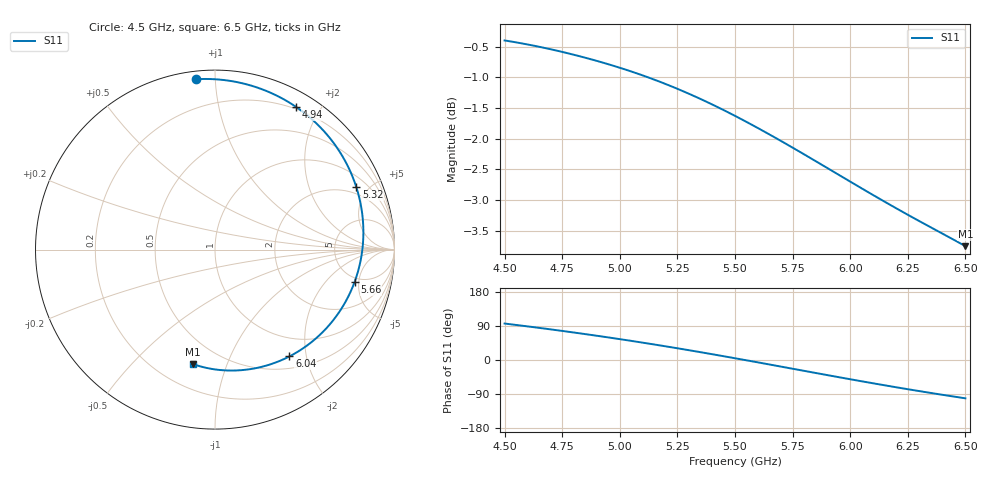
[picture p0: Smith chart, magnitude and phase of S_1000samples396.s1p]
! TOUCHSTONE file generated by CST MICROWAVE STUDIO
! Date and time: Fri Oct 28 00:45:36 2022
! Project name: L.cst
! Parameters = {Di=1.27; Epsilon_r=1.56; InnerDiameter=1.27; Length=2; Lf=10; Lg=60; OuterConductorThickness=0.2921; OuterDiameter=3.6; Wf=3; Wp=41.2; de=1.5; df=6.8; g=0.8; gx=4.4939; gy=4.37094; h=2.34; hf=1.524; px=13.2286; py=9.4735; w=9.7; wx=8.73472; wy=5.10255}
! Header version: 2018
! Port assignment regex: !\s*Touchstone port\s*([0-9]+)\s*=\s*(CST MWS port|CST DS port)\s*([0-9]+|Zmin|Zmax)\s*\(\"(.*)\"\)(\s*mode\s*([0-9]+))?.*
! Touchstone port assignment:
! Touchstone port 1 = CST MWS port 1 ("")
# GHz S DB R 50
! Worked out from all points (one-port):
!   101 points, 4.5 GHz to 6.5 GHz, reference 50 ohm
!   lowest |S11| = -3.8 dB at 6.5 GHz (marker M1), VSWR 4.70, Z = 17.3 - j38.1 ohm
!   |S11| at or under -10 dB: nowhere
!   S11 on the Smith chart (normalised r, x): 4.5 GHz: 0.04, +0.90; 4.94 GHz: 0.18, +1.70; 5.32 GHz: 1.57, +4.19; 5.66 GHz: 4.44, -4.41; 6.04 GHz: 0.68, -1.71; 6.5 GHz: 0.35, -0.76
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4.5  -0.40 96.2
4.58  -0.45 90.2
4.64  -0.50 85.5
4.76  -0.60 75.9
4.86  -0.69 67.5
4.94  -0.78 60.5
5  -0.85 55.1
5.06  -0.92 49.5
5.12  -1.00 43.8
5.2  -1.11 36.0
5.26  -1.20 29.9
5.32  -1.30 23.8
5.42  -1.48 13.3
5.5  -1.63 4.6
5.58  -1.79 -4.1
5.66  -1.95 -13.0
5.76  -2.17 -24.2
5.82  -2.30 -30.9
5.88  -2.43 -37.6
5.94  -2.57 -44.2
6  -2.70 -50.8
6.04  -2.79 -55.1
6.14  -3.01 -65.7
6.2  -3.14 -72.0
6.26  -3.26 -78.1
6.32  -3.39 -84.0
6.38  -3.51 -89.9
6.5  -3.75 -101.1
